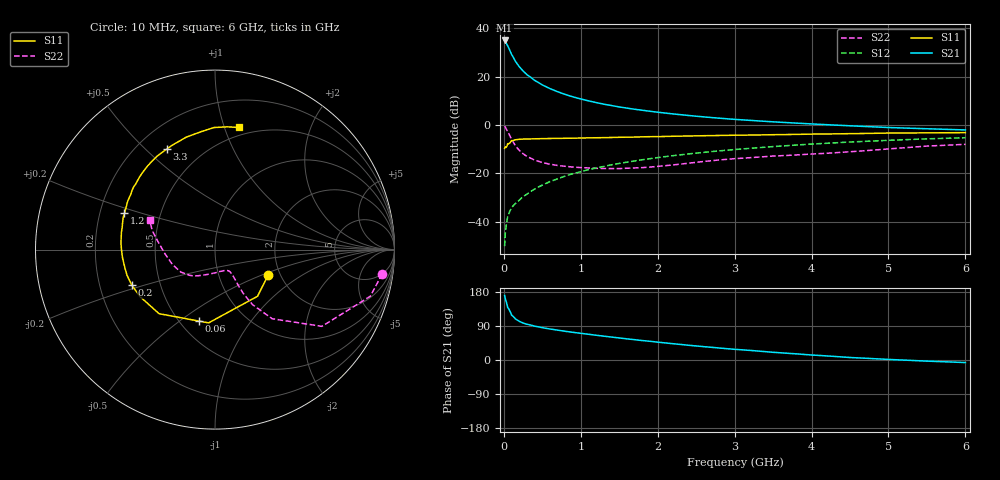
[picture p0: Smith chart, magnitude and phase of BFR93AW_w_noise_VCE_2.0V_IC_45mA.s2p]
! Infineon Technologies  Discrete & RF Semiconductors
! BFR93AW
! VCE =  2.0 V,  IC =  45 mA
! Common Emitter S-Parameters:  Jan 2017
# GHz  S  MA  R  50
!  f  S11  S21  S12  S22
! GHz  MAG  ANG  MAG  ANG  MAG  ANG  MAG  ANG
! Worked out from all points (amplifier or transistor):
!   77 points, 10 MHz to 6 GHz, reference 50 ohm
!   highest |S21| = 35.0 dB at 10 MHz (marker M1)
!   |S21| within 3 dB of that: start of sweep to 61.74 MHz
!   unconditionally stable (mu >= 1): 387.1 MHz to 2.223 GHz
!   at 130 MHz: K = 0.66, MSG = 30.4 dB, |S12| = -33.2 dB
!   at 2.2 GHz: K = 1.00, MAG = 8.4 dB, |S12| = -12.7 dB
!   at 6 GHz: K = 0.93, MSG = 1.6 dB, |S12| = -5.3 dB
!   lowest NFmin = 2.16 dB at 450 MHz
!   S11 on the Smith chart (normalised r, x): 10 MHz: 1.74, -0.54; 60 MHz: 0.62, -0.59; 200 MHz: 0.34, -0.18; 1.2 GHz: 0.31, +0.18; 3.3 GHz: 0.32, +0.58; 6 GHz: 0.43, +1.12
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0.01  0.3283 -25.2  56.12 170.2  0.0031 79.7  0.9414 -8.3
0.02  0.3518 -47.7  54.42 161.1  0.006 79.8  0.9035 -16.7
0.05  0.4098 -95.0  43.49 138.8  0.0127 63.3  0.733 -35.7
0.06  0.4083 -102.9  40.28 136.0  0.014 62.4  0.6836 -37.8
0.1  0.4739 -131.1  28.99 118.6  0.0193 60.0  0.4998 -50.4
0.15  0.4932 -147.9  20.85 108.4  0.0237 59.5  0.3707 -55.7
0.2  0.5042 -157.1  16.11 102.2  0.0278 62.4  0.2988 -57.1
0.25  0.5105 -163.7  13.12 97.6  0.0329 64.0  0.2541 -57.1
0.3  0.5122 -168.3  11.02 94.4  0.037 66.7  0.2229 -56.7
0.4  0.5174 -175.0  8.381 89.3  0.0471 69.3  0.1873 -55.7
0.5  0.5211 -180.0  6.741 85.3  0.0569 70.5  0.1667 -55.5
0.7  0.5272 172.6  4.866 78.8  0.0769 71.9  0.145 -56.3
0.9  0.5324 166.2  3.809 73.0  0.0983 71.4  0.1344 -60.1
1.1  0.5414 160.9  3.156 67.9  0.1186 70.8  0.129 -65.2
1.2  0.5435 158.1  2.905 65.3  0.1289 69.9  0.1267 -68.1
1.6  0.5586 148.9  2.232 55.8  0.1698 67.0  0.1272 -84.0
2.1  0.5783 138.1  1.762 45.1  0.2212 62.4  0.1436 -106.2
3.1  0.6153 119.4  1.275 26.8  0.319 51.8  0.2053 -137.1
3.3  0.6207 115.8  1.216 23.7  0.3377 49.6  0.2156 -142.0
4.1  0.6487 102.8  1.032 12.0  0.4103 40.7  0.2548 -163.4
5.1  0.6808 89.3  0.875 0.6  0.4876 29.3  0.3277 170.4
6  0.6933 79.0  0.789 -6.8  0.5447 19.2  0.3978 155.9
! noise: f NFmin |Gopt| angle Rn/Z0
0.45  2.16  0.24  -179  0.17
0.9  2.46  0.3  -169  0.17
1.9  3.55  0.53  -132  0.39
2.4  4.27  0.57  -122  0.72
